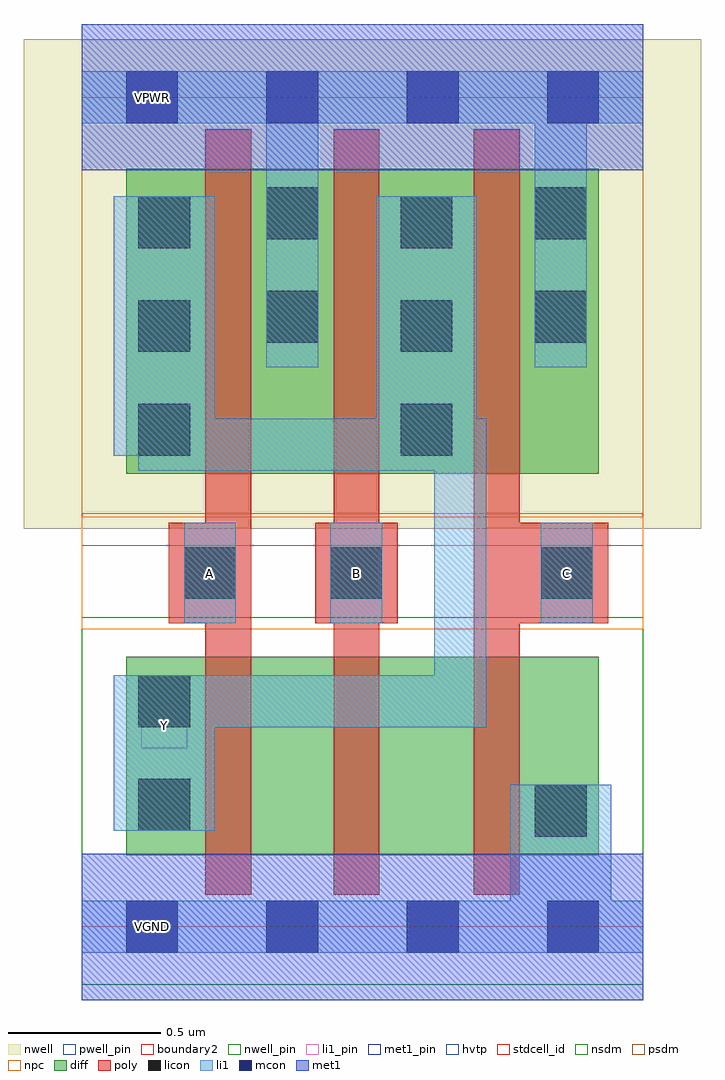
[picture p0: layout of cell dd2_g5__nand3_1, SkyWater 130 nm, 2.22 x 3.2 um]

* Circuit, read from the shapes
.subckt dd2_g5__nand3_1 A B C VGND VNB VPB VPWR Y
XM1 n1 A Y VNB sky130_fd_pr__nfet_01v8 w=0.65 l=0.15
XM2 n2 B n1 VNB sky130_fd_pr__nfet_01v8 w=0.65 l=0.15
XM3 VGND C n2 VNB sky130_fd_pr__nfet_01v8 w=0.65 l=0.15
XM4 VPWR A Y VPB sky130_fd_pr__pfet_01v8_hvt w=1 l=0.15
XM5 Y B VPWR VPB sky130_fd_pr__pfet_01v8_hvt w=1 l=0.15
XM6 VPWR C Y VPB sky130_fd_pr__pfet_01v8_hvt w=1 l=0.15
.ends

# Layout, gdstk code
import gdstk
lib = gdstk.Library(unit=1e-6, precision=1e-09)
def R(c, l, rs):  # rectangles x0, y0, x1, y1
    for r in rs: c.add(gdstk.rectangle(r[:2], r[2:], *l))
def A(c, l, x, y, w, h, nx, ny, dx, dy):  # array of equal rectangles
    R(c, l, [(x+i*dx, y+j*dy, x+i*dx+w, y+j*dy+h) for i in range(nx) for j in range(ny)])
nwell_pin = (64, 16)
nwell = (64, 20)
diff = (65, 20)
poly = (66, 20)
licon = (66, 44)
li1_pin = (67, 16)
li1 = (67, 20)
mcon = (67, 44)
met1_pin = (68, 16)
met1 = (68, 20)
hvtp = (78, 44)
stdcell_id = (81, 4)
nsdm = (93, 44)
psdm = (94, 20)
npc = (95, 20)
pwell_pin = (122, 16)
boundary2 = (236, 0)

dd2_g5__nand3_1 = lib.new_cell('dd2_g5__nand3_1')
R(dd2_g5__nand3_1, nwell_pin, [(0.145,2.635,0.315,2.805)])
R(dd2_g5__nand3_1, nwell, [(-0.19,1.305,2.03,2.91)])
R(dd2_g5__nand3_1, diff, [(0.145,0.235,0.9,0.885), (0.48,0.235,1.36,0.885), (0.9,0.235,1.695,0.885), (0.145,1.485,0.9,2.485), (0.48,1.485,1.36,2.485), (0.9,1.485,1.695,2.485)])
R(dd2_g5__nand3_1, poly, [(0.405,0.105,0.555,2.615), (0.825,0.105,0.975,2.615), (1.285,0.105,1.435,2.615), (0.285,0.995,0.555,1.325), (0.765,0.995,1.035,1.325), (1.285,0.995,1.725,1.325)])
A(dd2_g5__nand3_1, licon, 0.185, 1.545, 0.17, 0.17, 1, 3, 0, 0.34)
A(dd2_g5__nand3_1, licon, 1.045, 1.545, 0.17, 0.17, 1, 3, 0, 0.34)
R(dd2_g5__nand3_1, licon, [(1.485,0.295,1.655,0.465), (0.185,0.315,0.355,0.485), (0.185,0.655,0.355,0.825), (0.335,1.075,0.505,1.245), (0.815,1.075,0.985,1.245), (1.505,1.075,1.675,1.245), (0.605,1.915,0.775,2.085), (1.485,1.915,1.655,2.085), (0.605,2.255,0.775,2.425), (1.485,2.255,1.655,2.425)])
R(dd2_g5__nand3_1, li1_pin, [(0.145,-0.085,0.315,0.085), (0.195,0.585,0.345,0.735), (0.345,1.085,0.495,1.235), (0.825,1.085,0.975,1.235), (1.515,1.085,1.665,1.235), (0.145,2.635,0.315,2.805)])
R(dd2_g5__nand3_1, li1, [(0,-0.085,1.84,0.085), (1.405,0.085,1.735,0.465), (0.105,0.315,0.435,0.655), (0.105,0.655,1.325,0.825), (1.155,0.825,1.325,1.495), (0.335,0.995,0.505,1.325), (0.815,0.995,0.985,1.325), (1.505,0.995,1.675,1.325), (0.185,1.495,1.325,1.545), (0.105,1.545,1.325,1.665), (0.105,1.665,0.435,2.395), (0.965,1.665,1.295,2.395), (0.605,1.835,0.775,2.635), (1.485,1.835,1.655,2.635), (0,2.635,1.84,2.805)])
A(dd2_g5__nand3_1, mcon, 0.145, -0.085, 0.17, 0.17, 4, 2, 0.46, 2.72)
R(dd2_g5__nand3_1, met1_pin, [(0.145,-0.085,0.315,0.085), (0.145,2.635,0.315,2.805)])
R(dd2_g5__nand3_1, met1, [(0,-0.24,1.84,0.24), (0,2.48,1.84,2.96)])
R(dd2_g5__nand3_1, hvtp, [(0,1.25,1.84,2.72)])
R(dd2_g5__nand3_1, stdcell_id, [(0,0,1.84,2.72)])
R(dd2_g5__nand3_1, nsdm, [(0,-0.19,1.84,1.015)])
R(dd2_g5__nand3_1, psdm, [(0,1.355,1.84,2.91)])
R(dd2_g5__nand3_1, npc, [(0,0.975,1.84,1.345)])
R(dd2_g5__nand3_1, pwell_pin, [(0.145,-0.085,0.315,0.085)])
R(dd2_g5__nand3_1, boundary2, [(0,0,1.84,2.72)])
dd2_g5__nand3_1.add(gdstk.Label('VPWR', (0.23,2.72), layer=68, texttype=5))
dd2_g5__nand3_1.add(gdstk.Label('VGND', (0.23,0), layer=68, texttype=5))
dd2_g5__nand3_1.add(gdstk.Label('VPWR', (0.23,2.72), layer=67, texttype=5))
dd2_g5__nand3_1.add(gdstk.Label('VGND', (0.23,0), layer=67, texttype=5))
dd2_g5__nand3_1.add(gdstk.Label('A', (0.42,1.16), layer=67, texttype=5))
dd2_g5__nand3_1.add(gdstk.Label('B', (0.9,1.16), layer=67, texttype=5))
dd2_g5__nand3_1.add(gdstk.Label('C', (1.59,1.16), layer=67, texttype=5))
dd2_g5__nand3_1.add(gdstk.Label('Y', (0.27,0.66), layer=67, texttype=5))
dd2_g5__nand3_1.add(gdstk.Label('VPB', (0.23,2.72), layer=64, texttype=5))
dd2_g5__nand3_1.add(gdstk.Label('VNB', (0.23,0), layer=64, texttype=59))

lib.write_gds('dd2_g5__nand3_1.gds')
